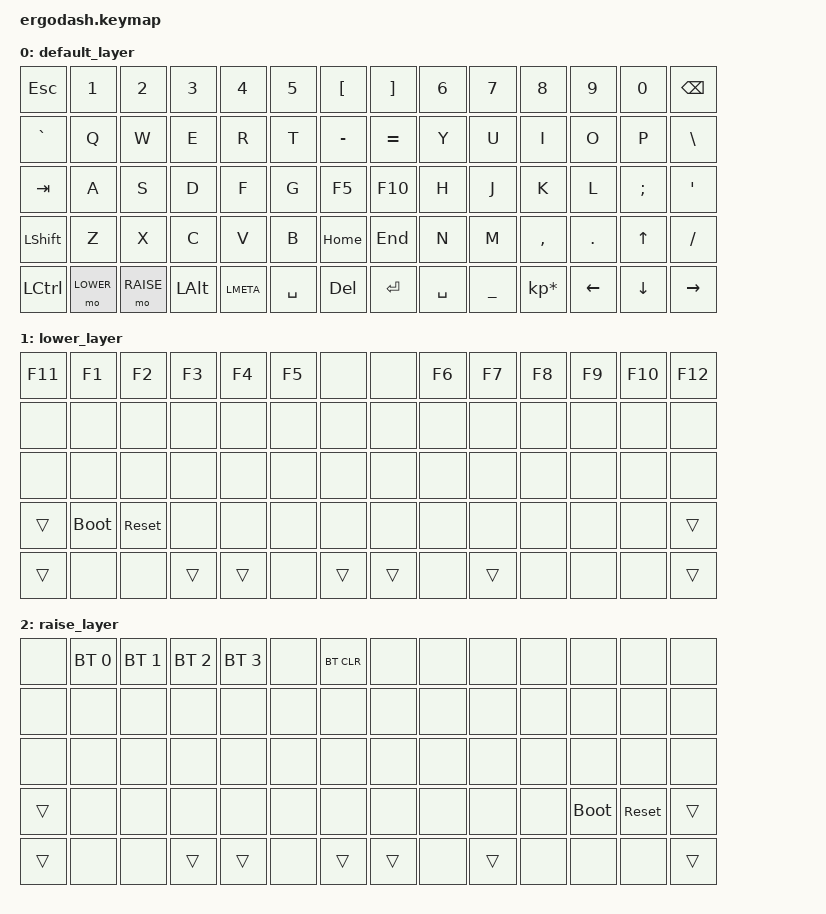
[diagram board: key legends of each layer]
/*
 * Copyright (c) 2020 The ZMK Contributors
 *
 * SPDX-License-Identifier: MIT
 */

#include <behaviors.dtsi>
#include <dt-bindings/zmk/keys.h>
#include <dt-bindings/zmk/bt.h>

#define DEFAULT 0
#define LOWER   1
#define RAISE   2


/ {
    kscan0: kscan {
        diode-direction = "col2row";
        wakeup-source;
    };

        keymap {
                compatible = "zmk,keymap";

                default_layer {
/* QWERTY
 * .----------------------------------------------------------------------------------------------------------------------.
 * |  ESC |   1  |   2  |   3  |   4  |   5  |  [   |                    |  ]   |   6  |   7  |   8  |   9  |   0  | BSPC |
 * |------+------+------+------+------+------+------+--------------------+------+------+------+------+------+------+------|
 * | `    |   Q  |   W  |   E  |   R  |   T  |  -   |                    |  =   |   Y  |   U  |   I  |   O  |   P  |  \   |
 * |------+------+------+------+------+------+------+--------------------+------+------+------+------+------+------+------|
 * | Tab  |   A  |   S  |   D  |   F  |   G  | F5   |                    | F10  |   H  |   J  |   K  |   L  |   ;  |  '   |
 * |------+------+------+------+------+------+---------------------------+------+------+------+------+------+------+------|
 * | Shift|   Z  |   X  |   C  |   V  |   B  |Space |                    | Space|   N  |   M  |   ,  |   .  |   ↑  | /    |
 * |-------------+------+------+------+------+------+------+------+------+------+------+------+------+------+-------------|
 * | Ctrl |LOWER | Raise| Alt  | Win  | del  | Home |     ||||||         | End  | enter|   _  |   ※  |   ←  |   ↓  |  →   |
 * .----------------------------------------------------------------------------------------------------------------------.
 */
                        bindings = <
&kp  ESC      &kp  N1       &kp  N2       &kp  N3       &kp  N4       &kp  N5       &kp  LBKT              &kp  RBKT     &kp  N6       &kp  N7       &kp  N8           &kp  N9       &kp  N0       &kp  BSPC
&kp  GRAVE    &kp  Q        &kp  W        &kp  E        &kp  R        &kp  T        &kp  MINUS             &kp  EQUAL    &kp  Y        &kp  U        &kp  I            &kp  O        &kp  P        &kp  BSLH
&kp  TAB      &kp  A        &kp  S        &kp  D        &kp  F        &kp  G        &kp  F5                &kp  F10      &kp  H        &kp  J        &kp  K            &kp  L        &kp  SEMI     &kp  SQT
&kp  LSHFT    &kp  Z        &kp  X        &kp  C        &kp  V        &kp  B        &kp  HOME             &kp  END    &kp  N        &kp  M        &kp  COMMA        &kp  DOT      &kp  UP       &kp  SLASH
&kp  LCTRL    &mo LOWER     &mo  RAISE    &kp  LALT     &kp  LMETA    &kp  SPACE      &kp  DEL              &kp  ENTER      &kp  SPACE       &kp  UNDER    &kp  KP_ASTERISK  &kp  LEFT     &kp  DOWN     &kp  RIGHT
                        >;
                };
                lower_layer {
/* .----------------------------------------------------------------------------------------------------------------------.
 * |  F11 |  F1  |  F2  |  F3  |  F4  |  F5  |      |                    |      |  F6  |  F7  |  F8  |  F9  |  F10 |  F12 |
 * |------+------+------+------+------+------+------+--------------------+------+------+------+------+------+------+------|
 * |      |      |      |      |      |      |      |                    |      |      |      |      |      |      |      |
 * |------+------+------+------+------+------+------+--------------------+------+------+------+------+------+------+------|
 * |      |      |      |      |      |      |      |                    |      |      |      |      |      |      |      |
 * |------+------+------+------+------+------+---------------------------+------+------+------+------+------+------+------|
 * | Shift| Boot | Reset|      |      |      |      |                    |      |      |      |      |      |      | Shift|
 * |-------------+------+------+------+------+------+------+------+------+------+------+------+------+------+-------------|
 * | Ctlr |      |      |  Win |||||||| Alt  |      | Lower|||||||| Raise|      | RAlt ||||||||      |      |      | RCtrl|
 * .----------------------------------------------------------------------------------------------------------------------.
 */ /* FIXME boot and reset are not yet locale aware */
                        bindings = <
&kp  F11      &kp  F1       &kp  F2       &kp  F3       &kp  F4       &kp  F5       &none                  &none         &kp  F6       &kp  F7       &kp  F8       &kp  F9       &kp  F10      &kp  F12
&none         &none         &none         &none         &none         &none         &none                  &none         &none         &none         &none         &none         &none         &none
&none         &none         &none         &none         &none         &none         &none                  &none         &none         &none         &none         &none         &none         &none
&trans        &bootloader   &sys_reset        &none         &none         &none         &none                  &none         &none         &none         &none         &none         &none         &trans
&trans        &none         &none         &trans        &trans        &none         &trans                 &trans        &none         &trans        &none         &none         &none         &trans
                        >;
                };
                raise_layer {
/* .----------------------------------------------------------------------------------------------------------------------.
 * |      | BT 0 | BT 1 | BT 2 | BT 3 |      | BTCL |                    |      |      |      |      |      |      |      |
 * |------+------+------+------+------+------+------+--------------------+------+------+------+------+------+------+------|
 * |      |      |      |      |      |      |      |                    |      |      |      |      |      |      |      |
 * |------+------+------+------+------+------+------+--------------------+------+------+------+------+------+------+------|
 * |      |      |      |      |      |      |      |                    |      |      |      |      |      |      |      |
 * |------+------+------+------+------+------+---------------------------+------+------+------+------+------+------+------|
 * | Shift|      |      |      |      |      |      |                    |      |      |      |      | Boot | Reset| Shift|
 * |-------------+------+------+------+------+------+------+------+------+------+------+------+------+------+-------------|
 * | Ctlr |      |      |  Win |||||||| Alt  |      | Lower|||||||| Raise|      | RAlt ||||||||      |      |      | RCtrl|
 * .----------------------------------------------------------------------------------------------------------------------.
 */ /* FIXME boot and reset are not yet locale aware */
                        bindings = <
&none         &bt BT_SEL 0  &bt BT_SEL 1  &bt BT_SEL 2  &bt BT_SEL 3  &none         &bt BT_CLR             &none         &none         &none         &none         &none         &none         &none
&none         &none         &none         &none         &none         &none         &none                  &none         &none         &none         &none         &none         &none         &none
&none         &none         &none         &none         &none         &none         &none                  &none         &none         &none         &none         &none         &none         &none
&trans        &none         &none         &none         &none         &none         &none                  &none         &none         &none         &none         &bootloader   &sys_reset        &trans
&trans        &none         &none         &trans        &trans        &none         &trans                 &trans        &none         &trans        &none         &none         &none         &trans
                        >;
                };
        };
};

